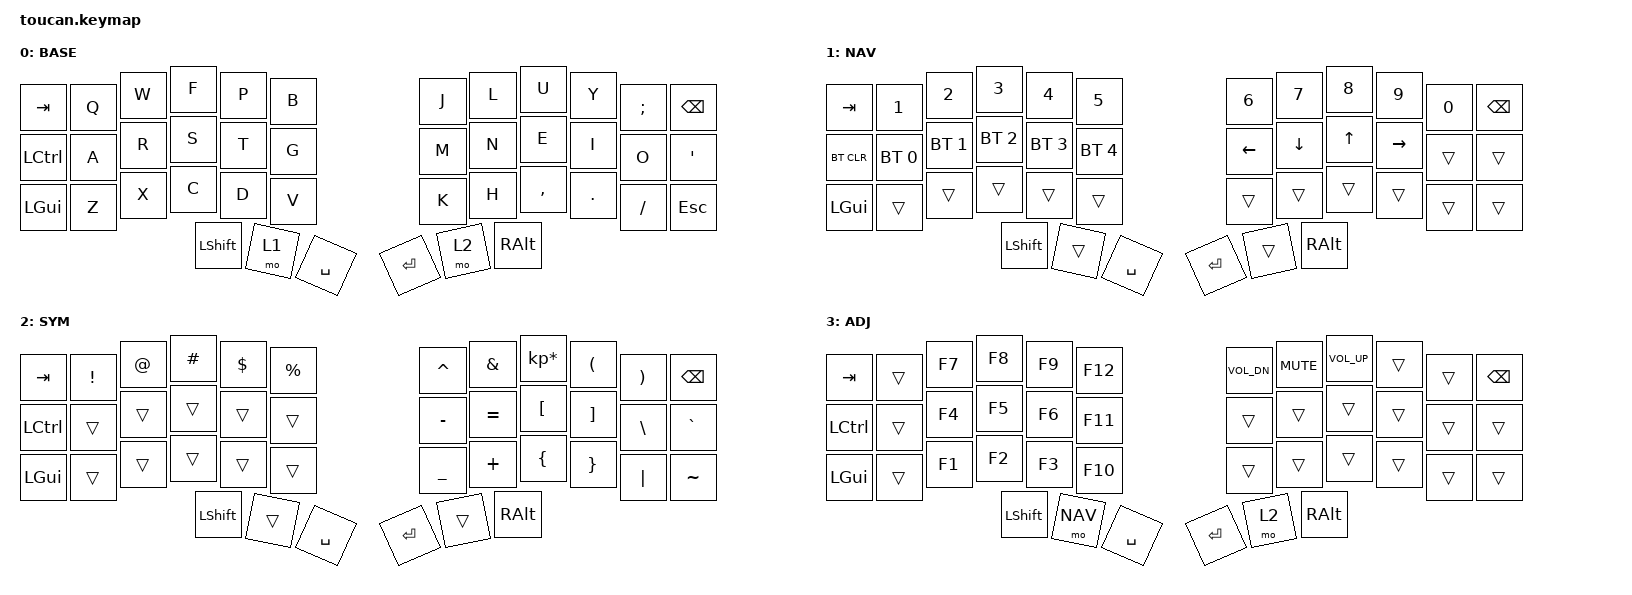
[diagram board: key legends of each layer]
#include <behaviors.dtsi>
#include <dt-bindings/zmk/keys.h>
#include <dt-bindings/zmk/bt.h>
#include <dt-bindings/zmk/outputs.h>

#define BASE 0
#define NAV  1
#define SYM  2
#define ADJ  3

/ {
    conditional_layers {
        compatible = "zmk,conditional-layers";
        tri_layer {
            if-layers = <1 2>;
            then-layer = <3>;
        };
    };

    keymap {
        compatible = "zmk,keymap";

        base {
            display-name = "BASE";
            bindings = <
                &kp TAB   &kp Q &kp W &kp F &kp P &kp B   &kp J &kp L  &kp U     &kp Y   &kp SEMI    &kp BSPC
                &kp LCTRL &kp A &kp R &kp S &kp T &kp G   &kp M &kp N  &kp E     &kp I   &kp O &kp SQT
                &kp LGUI &kp Z &kp X &kp C &kp D &kp V   &kp K &kp H  &kp COMMA &kp DOT &kp FSLH &kp ESC
                                &kp LSHFT &mo 1 &kp SPACE   &kp RET &mo 2 &kp RALT
            >;
        };

        nav {
            display-name = "NAV";
            bindings = <
                &kp TAB     &kp N1          &kp N2       &kp N3       &kp N4       &kp N5         &kp N6   &kp N7   &kp N8 &kp N9    &kp N0 &kp BSPC
                &bt BT_CLR  &bt BT_SEL 0    &bt BT_SEL 1 &bt BT_SEL 2 &bt BT_SEL 3 &bt BT_SEL 4   &kp LEFT &kp DOWN &kp UP &kp RIGHT &trans &trans
                &kp LGUI    &trans          &trans       &trans       &trans       &trans         &trans   &trans   &trans &trans    &trans &trans
                                                &kp LSHFT     &trans       &kp SPACE      &kp RET  &trans   &kp RALT
            >;
        };

        sym {
            display-name = "SYM";
            bindings = <
                &kp TAB   &kp EXCL &kp AT &kp HASH &kp DLLR &kp PRCNT   &kp CARET &kp AMPS  &kp KP_MULTIPLY &kp LPAR &kp RPAR &kp BSPC
                &kp LCTRL &trans   &trans &trans   &trans   &trans      &kp MINUS &kp EQUAL &kp LBKT        &kp RBKT &kp BSLH &kp GRAVE
                &kp LGUI &trans   &trans &trans   &trans   &trans      &kp UNDER &kp PLUS  &kp LBRC        &kp RBRC &kp PIPE &kp TILDE
                                          &kp LSHFT &trans   &kp SPACE   &kp RET   &trans    &kp RALT
            >;
        };

        adj {
            display-name = "ADJ";
            bindings = <
                &kp TAB   &trans &kp F7 &kp F8 &kp F9 &kp F12   &kp C_VOL_DN &kp C_MUTE  &kp C_VOL_UP &trans &trans &kp BSPC
                &kp LCTRL &trans &kp F4 &kp F5 &kp F6 &kp F11   &trans       &trans      &trans       &trans &trans &trans
                &kp LGUI &trans &kp F1 &kp F2 &kp F3 &kp F10   &trans       &trans      &trans       &trans &trans &trans
                                   &kp LSHFT &mo NAV &kp SPACE   &kp RET &mo 2 &kp RALT
            >;
        };
        extra_1 {
                status = "reserved";
        };

        extra_2 {
                status = "reserved";
        };

        extra_3 {
                status = "reserved";
        };
    };
};
